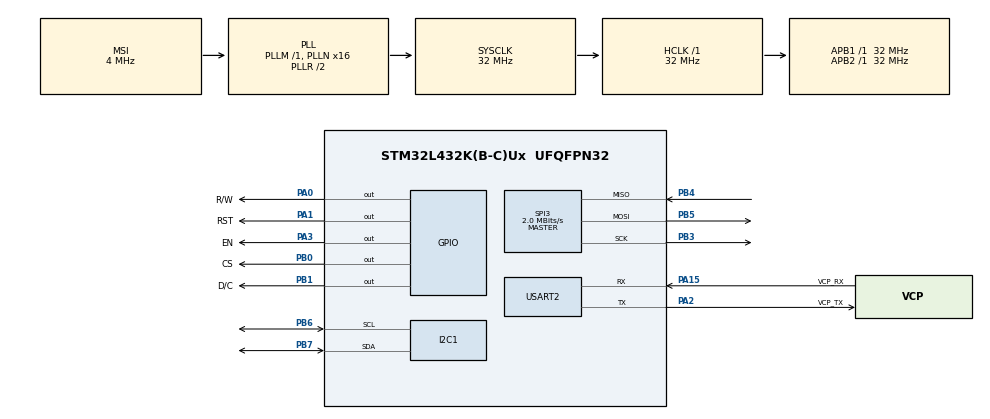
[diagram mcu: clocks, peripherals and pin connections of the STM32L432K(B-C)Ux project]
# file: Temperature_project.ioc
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I2C1.Timing=0x00707CBB
Mcu.Family=STM32L4
Mcu.Name=STM32L432K(B-C)Ux
Mcu.Package=UFQFPN32
NVIC.PriorityGroup=NVIC_PRIORITYGROUP_4
PA0.GPIO_Label=R/W
PA0.GPIO_PuPd=GPIO_PULLDOWN
PA0.Signal=GPIO_Output
PA1.GPIO_Label=RST
PA1.GPIO_PuPd=GPIO_PULLUP
PA1.Signal=GPIO_Output
PA13\ (JTMS-SWDIO).GPIO_Label=SWDIO
PA13\ (JTMS-SWDIO).Mode=Serial_Wire
PA13\ (JTMS-SWDIO).Signal=SYS_JTMS-SWDIO
PA14\ (JTCK-SWCLK).GPIO_Label=SWCLK
PA14\ (JTCK-SWCLK).Mode=Serial_Wire
PA14\ (JTCK-SWCLK).Signal=SYS_JTCK-SWCLK
PA15\ (JTDI).GPIO_Label=VCP_RX
PA15\ (JTDI).Mode=Asynchronous
PA15\ (JTDI).Signal=USART2_RX
PA2.GPIO_Label=VCP_TX
PA2.Mode=Asynchronous
PA2.Signal=USART2_TX
PA3.GPIO_Label=EN
PA3.GPIO_PuPd=GPIO_PULLUP
PA3.Signal=GPIO_Output
PB0.GPIO_Label=CS
PB0.GPIO_PuPd=GPIO_PULLUP
PB0.Signal=GPIO_Output
PB1.GPIO_Label=D/C
PB1.Signal=GPIO_Output
PB3\ (JTDO-TRACESWO).Mode=Full_Duplex_Master
PB3\ (JTDO-TRACESWO).Signal=SPI3_SCK
PB4\ (NJTRST).Mode=Full_Duplex_Master
PB4\ (NJTRST).Signal=SPI3_MISO
PB5.Mode=Full_Duplex_Master
PB5.Signal=SPI3_MOSI
PB6.Mode=I2C
PB6.Signal=I2C1_SCL
PB7.Mode=I2C
PB7.Signal=I2C1_SDA
PC14-OSC32_IN\ (PC14).Mode=LSE-External-Oscillator
PC14-OSC32_IN\ (PC14).Signal=RCC_OSC32_IN
PC15-OSC32_OUT\ (PC15).Mode=LSE-External-Oscillator
PC15-OSC32_OUT\ (PC15).Signal=RCC_OSC32_OUT
ProjectManager.HeapSize=0x200
ProjectManager.StackSize=0x400
ProjectManager.TargetToolchain=STM32CubeIDE
RCC.AHBFreq_Value=32000000
RCC.APB1Freq_Value=32000000
RCC.APB1TimFreq_Value=32000000
RCC.APB2Freq_Value=32000000
RCC.APB2TimFreq_Value=32000000
RCC.CortexFreq_Value=32000000
RCC.HCLKFreq_Value=32000000
RCC.HSE_VALUE=8000000
RCC.HSI16_VALUE=16000000
RCC.HSI48_VALUE=48000000
RCC.HSI_VALUE=16000000
RCC.MSI_VALUE=4000000
RCC.PLLMUL=RCC_PLLMUL_4
RCC.PLLN=16
RCC.SYSCLKFreq_VALUE=32000000
RCC.SYSCLKSource=RCC_SYSCLKSOURCE_PLLCLK
RCC.VCOOutputFreq_Value=64000000
SPI3.BaudRatePrescaler=SPI_BAUDRATEPRESCALER_16
SPI3.CalculateBaudRate=2.0 MBits/s
SPI3.DataSize=SPI_DATASIZE_8BIT
SPI3.Direction=SPI_DIRECTION_2LINES
SPI3.Mode=SPI_MODE_MASTER
SPI3.VirtualType=VM_MASTER
USART2.VirtualMode-Asynchronous=VM_ASYNC
board=NUCLEO-L432KC

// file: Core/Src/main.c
/* USER CODE BEGIN Header */
/**
  ******************************************************************************
  * @file           : main.c
  * @brief          : Main program body
  ******************************************************************************
  * @attention
  *
  * Copyright (c) 2023 STMicroelectronics.
  * All rights reserved.
  *
  * This software is licensed under terms that can be found in the LICENSE file
  * in the root directory of this software component.
  * If no LICENSE file comes with this software, it is provided AS-IS.
  *
  ******************************************************************************
  */
/* USER CODE END Header */
#define _SVID_SOURCE
#include "main.h"
/* USER CODE BEGIN Includes */
#include <string.h>
#include <stdarg.h>
#include <stdlib.h>
#include <stdio.h>
#include "fonts.h"
#include "ssd1351.h"
/* USER CODE END Includes */

/* USER CODE BEGIN PD */
#define THERMO20_CMD_RESET 0x1E
#define THERMO20_CMD_READ_SERIAL_NUMBER 0x0A
#define THERMO20_CMD_CONVERSION 0x46
#define THERMO20_CMD_READ_ADC 0x00
#define READ 1
#define WRITE 0
/* USER CODE END PD */

I2C_HandleTypeDef hi2c1;

SPI_HandleTypeDef hspi3;

UART_HandleTypeDef huart2;

void SystemClock_Config(void);
static void MX_GPIO_Init(void);
static void MX_USART2_UART_Init(void);
static void MX_I2C1_Init(void);
static void MX_SPI3_Init(void);

int main(void)
{

  /* MCU Configuration--------------------------------------------------------*/

  /* Reset of all peripherals, Initializes the Flash interface and the Systick. */
  HAL_Init();

  /* Configure the system clock */
  SystemClock_Config();

  /* Initialize all configured peripherals */
  MX_GPIO_Init();
  MX_USART2_UART_Init();
  MX_I2C1_Init();
  MX_SPI3_Init();

  /* USER CODE BEGIN 2 */
    //----------------- BEGIN Thermo20 click init-------------------------------------------
    uint8_t cmd;
    uint8_t *pCMD = &cmd;
    uint8_t id[3];
    uint8_t *pID = &id[0];
    uint8_t temp[2];
    uint8_t *pTemp = &temp[0];
    // --- Reset TSYS03
    cmd = THERMO20_CMD_RESET;
    HAL_I2C_Master_Transmit(&hi2c1, (0x40<<1) | WRITE, pCMD, 1, 1000);
    HAL_Delay(1);
    // --- Read Serial Number
    cmd = THERMO20_CMD_READ_SERIAL_NUMBER;
    HAL_I2C_Master_Transmit(&hi2c1, (0x40<<1) | WRITE, pCMD, 1, 1000);
    HAL_I2C_Master_Receive(&hi2c1, (0x40<<1) | READ, pID, 4, 1000);
    // -----------------END Thermo20 click init------------------------------------------

    //----------------- BEGIN OLED click init-------------------------------------------
    char buf[100], buf2[100];
    //OLED initialization and fill screen with black color
       SSD1351_Unselect();
       SSD1351_Init();
       SSD1351_FillScreen(SSD1351_BLACK);
    // -----------------END OLED click init------------------------------------------
  /* USER CODE END 2 */

  /* Infinite loop */
  while (1)
  {

    /* USER CODE BEGIN 3 */
	   cmd = THERMO20_CMD_CONVERSION;
	 	    HAL_I2C_Master_Transmit(&hi2c1, (0x40<<1) | WRITE, pCMD, 1, 1000);

	 	    //datasheet T_conv = 12ms
	 	    HAL_Delay(15);
	 	    // --- READ ADC
	 	    cmd = THERMO20_CMD_READ_ADC;
	 	    HAL_I2C_Master_Transmit(&hi2c1, (0x40<<1) | WRITE, pCMD, 1, 1000);
	 	    HAL_I2C_Master_Receive(&hi2c1, (0x40<<1) | READ, pTemp, 3, 1000);
	 	    // ---
	 	    float result_celsius = -40 + ((((uint16_t)temp[0])<<8) |
	 	    (uint16_t)temp[1]) * 0.002517739;
	 	    // delay until next
	 	   float result_fahrenheit=(result_celsius*9/5)+32;

	 	   //----for OLED
           // gcvt() converts a float into a string, temperature stored in buf
	 	   gcvt(result_celsius, 4, buf);
	   	   gcvt(result_fahrenheit, 4, buf2);

	   	   //Display the temperature in celsius and fahrenheit on the OLED
	 	   display_output(result_celsius,buf,buf2);
	 	   HAL_Delay(3000);//wait 3s for next temperature scanning

  }
  /* USER CODE END 3 */
}

void SystemClock_Config(void)
{
  RCC_OscInitTypeDef RCC_OscInitStruct = {0};
  RCC_ClkInitTypeDef RCC_ClkInitStruct = {0};

  /** Configure the main internal regulator output voltage
  */
  if (HAL_PWREx_ControlVoltageScaling(PWR_REGULATOR_VOLTAGE_SCALE1) != HAL_OK)
  {
    Error_Handler();
  }

  /** Configure LSE Drive Capability
  */
  HAL_PWR_EnableBkUpAccess();
  __HAL_RCC_LSEDRIVE_CONFIG(RCC_LSEDRIVE_LOW);

  /** Initializes the RCC Oscillators according to the specified parameters
  * in the RCC_OscInitTypeDef structure.
  */
  RCC_OscInitStruct.OscillatorType = RCC_OSCILLATORTYPE_LSE|RCC_OSCILLATORTYPE_MSI;
  RCC_OscInitStruct.LSEState = RCC_LSE_ON;
  RCC_OscInitStruct.MSIState = RCC_MSI_ON;
  RCC_OscInitStruct.MSICalibrationValue = 0;
  RCC_OscInitStruct.MSIClockRange = RCC_MSIRANGE_6;
  RCC_OscInitStruct.PLL.PLLState = RCC_PLL_ON;
  RCC_OscInitStruct.PLL.PLLSource = RCC_PLLSOURCE_MSI;
  RCC_OscInitStruct.PLL.PLLM = 1;
  RCC_OscInitStruct.PLL.PLLN = 16;
  RCC_OscInitStruct.PLL.PLLP = RCC_PLLP_DIV7;
  RCC_OscInitStruct.PLL.PLLQ = RCC_PLLQ_DIV2;
  RCC_OscInitStruct.PLL.PLLR = RCC_PLLR_DIV2;
  if (HAL_RCC_OscConfig(&RCC_OscInitStruct) != HAL_OK)
  {
    Error_Handler();
  }

  /** Initializes the CPU, AHB and APB buses clocks
  */
  RCC_ClkInitStruct.ClockType = RCC_CLOCKTYPE_HCLK|RCC_CLOCKTYPE_SYSCLK
                              |RCC_CLOCKTYPE_PCLK1|RCC_CLOCKTYPE_PCLK2;
  RCC_ClkInitStruct.SYSCLKSource = RCC_SYSCLKSOURCE_PLLCLK;
  RCC_ClkInitStruct.AHBCLKDivider = RCC_SYSCLK_DIV1;
  RCC_ClkInitStruct.APB1CLKDivider = RCC_HCLK_DIV1;
  RCC_ClkInitStruct.APB2CLKDivider = RCC_HCLK_DIV1;

  if (HAL_RCC_ClockConfig(&RCC_ClkInitStruct, FLASH_LATENCY_1) != HAL_OK)
  {
    Error_Handler();
  }

  /** Enable MSI Auto calibration
  */
  HAL_RCCEx_EnableMSIPLLMode();
}

static void MX_I2C1_Init(void)
{

  hi2c1.Instance = I2C1;
  hi2c1.Init.Timing = 0x00707CBB;
  hi2c1.Init.OwnAddress1 = 0;
  hi2c1.Init.AddressingMode = I2C_ADDRESSINGMODE_7BIT;
  hi2c1.Init.DualAddressMode = I2C_DUALADDRESS_DISABLE;
  hi2c1.Init.OwnAddress2 = 0;
  hi2c1.Init.OwnAddress2Masks = I2C_OA2_NOMASK;
  hi2c1.Init.GeneralCallMode = I2C_GENERALCALL_DISABLE;
  hi2c1.Init.NoStretchMode = I2C_NOSTRETCH_DISABLE;
  if (HAL_I2C_Init(&hi2c1) != HAL_OK)
  {
    Error_Handler();
  }

  /** Configure Analogue filter
  */
  if (HAL_I2CEx_ConfigAnalogFilter(&hi2c1, I2C_ANALOGFILTER_ENABLE) != HAL_OK)
  {
    Error_Handler();
  }

  /** Configure Digital filter
  */
  if (HAL_I2CEx_ConfigDigitalFilter(&hi2c1, 0) != HAL_OK)
  {
    Error_Handler();
  }

}

static void MX_SPI3_Init(void)
{

  /* SPI3 parameter configuration*/
  hspi3.Instance = SPI3;
  hspi3.Init.Mode = SPI_MODE_MASTER;
  hspi3.Init.Direction = SPI_DIRECTION_2LINES;
  hspi3.Init.DataSize = SPI_DATASIZE_8BIT;
  hspi3.Init.CLKPolarity = SPI_POLARITY_LOW;
  hspi3.Init.CLKPhase = SPI_PHASE_1EDGE;
  hspi3.Init.NSS = SPI_NSS_SOFT;
  hspi3.Init.BaudRatePrescaler = SPI_BAUDRATEPRESCALER_16;
  hspi3.Init.FirstBit = SPI_FIRSTBIT_MSB;
  hspi3.Init.TIMode = SPI_TIMODE_DISABLE;
  hspi3.Init.CRCCalculation = SPI_CRCCALCULATION_DISABLE;
  hspi3.Init.CRCPolynomial = 7;
  hspi3.Init.CRCLength = SPI_CRC_LENGTH_DATASIZE;
  hspi3.Init.NSSPMode = SPI_NSS_PULSE_ENABLE;
  if (HAL_SPI_Init(&hspi3) != HAL_OK)
  {
    Error_Handler();
  }

}

static void MX_USART2_UART_Init(void)
{

  huart2.Instance = USART2;
  huart2.Init.BaudRate = 115200;
  huart2.Init.WordLength = UART_WORDLENGTH_8B;
  huart2.Init.StopBits = UART_STOPBITS_1;
  huart2.Init.Parity = UART_PARITY_NONE;
  huart2.Init.Mode = UART_MODE_TX_RX;
  huart2.Init.HwFlowCtl = UART_HWCONTROL_NONE;
  huart2.Init.OverSampling = UART_OVERSAMPLING_16;
  huart2.Init.OneBitSampling = UART_ONE_BIT_SAMPLE_DISABLE;
  huart2.AdvancedInit.AdvFeatureInit = UART_ADVFEATURE_NO_INIT;
  if (HAL_UART_Init(&huart2) != HAL_OK)
  {
    Error_Handler();
  }

}

static void MX_GPIO_Init(void)
{
  GPIO_InitTypeDef GPIO_InitStruct = {0};

  /* GPIO Ports Clock Enable */
  __HAL_RCC_GPIOC_CLK_ENABLE();
  __HAL_RCC_GPIOA_CLK_ENABLE();
  __HAL_RCC_GPIOB_CLK_ENABLE();

  /*Configure GPIO pin Output Level */
  HAL_GPIO_WritePin(GPIOA, R_W_Pin|RST_Pin|EN_Pin, GPIO_PIN_RESET);

  /*Configure GPIO pin Output Level */
  HAL_GPIO_WritePin(GPIOB, CS_Pin|D_C_Pin, GPIO_PIN_RESET);

  /*Configure GPIO pin : R_W_Pin */
  GPIO_InitStruct.Pin = R_W_Pin;
  GPIO_InitStruct.Mode = GPIO_MODE_OUTPUT_PP;
  GPIO_InitStruct.Pull = GPIO_PULLDOWN;
  GPIO_InitStruct.Speed = GPIO_SPEED_FREQ_LOW;
  HAL_GPIO_Init(R_W_GPIO_Port, &GPIO_InitStruct);

  /*Configure GPIO pins : RST_Pin EN_Pin */
  GPIO_InitStruct.Pin = RST_Pin|EN_Pin;
  GPIO_InitStruct.Mode = GPIO_MODE_OUTPUT_PP;
  GPIO_InitStruct.Pull = GPIO_PULLUP;
  GPIO_InitStruct.Speed = GPIO_SPEED_FREQ_LOW;
  HAL_GPIO_Init(GPIOA, &GPIO_InitStruct);

  /*Configure GPIO pin : CS_Pin */
  GPIO_InitStruct.Pin = CS_Pin;
  GPIO_InitStruct.Mode = GPIO_MODE_OUTPUT_PP;
  GPIO_InitStruct.Pull = GPIO_PULLUP;
  GPIO_InitStruct.Speed = GPIO_SPEED_FREQ_LOW;
  HAL_GPIO_Init(CS_GPIO_Port, &GPIO_InitStruct);

  /*Configure GPIO pin : D_C_Pin */
  GPIO_InitStruct.Pin = D_C_Pin;
  GPIO_InitStruct.Mode = GPIO_MODE_OUTPUT_PP;
  GPIO_InitStruct.Pull = GPIO_NOPULL;
  GPIO_InitStruct.Speed = GPIO_SPEED_FREQ_LOW;
  HAL_GPIO_Init(D_C_GPIO_Port, &GPIO_InitStruct);

}

void Error_Handler(void)
{
  __disable_irq();
  while (1)
  {
  }
}
